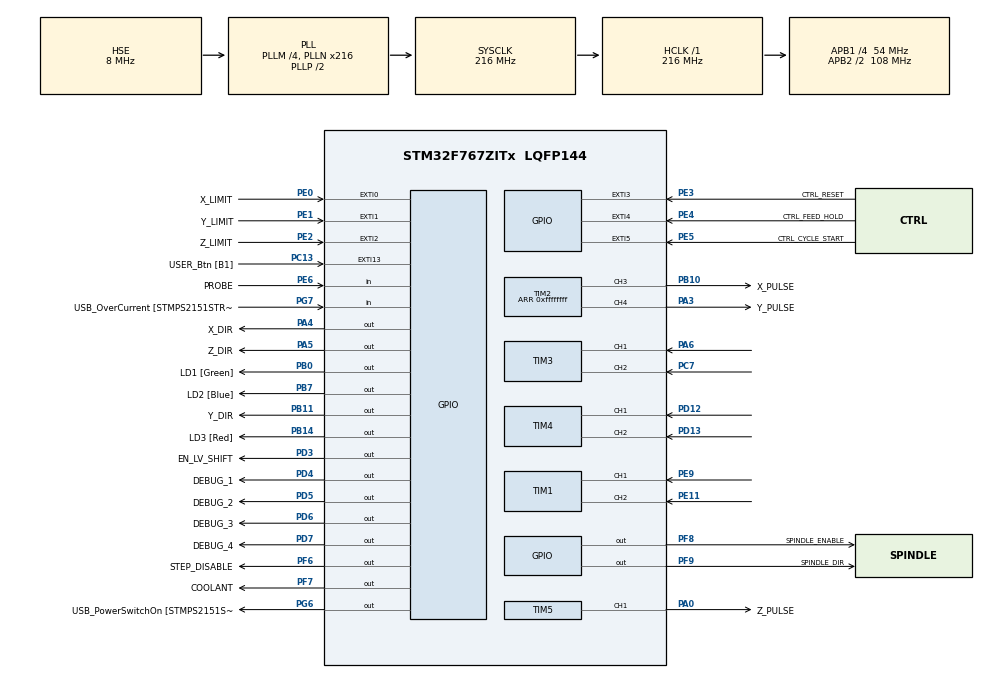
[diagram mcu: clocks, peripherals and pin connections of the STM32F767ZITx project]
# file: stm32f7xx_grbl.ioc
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Dma.Request0=TIM2_UP/CH3
Dma.Request1=TIM2_CH2/CH4
Dma.Request2=TIM5_CH1
Dma.TIM2_CH2/CH4.1.Direction=DMA_MEMORY_TO_PERIPH
Dma.TIM2_CH2/CH4.1.FIFOMode=DMA_FIFOMODE_DISABLE
Dma.TIM2_CH2/CH4.1.Instance=DMA1_Stream6
Dma.TIM2_CH2/CH4.1.MemDataAlignment=DMA_MDATAALIGN_WORD
Dma.TIM2_CH2/CH4.1.MemInc=DMA_MINC_ENABLE
Dma.TIM2_CH2/CH4.1.Mode=DMA_NORMAL
Dma.TIM2_CH2/CH4.1.PeriphDataAlignment=DMA_PDATAALIGN_WORD
Dma.TIM2_CH2/CH4.1.PeriphInc=DMA_PINC_DISABLE
Dma.TIM2_CH2/CH4.1.Priority=DMA_PRIORITY_HIGH
Dma.TIM2_UP/CH3.0.Direction=DMA_MEMORY_TO_PERIPH
Dma.TIM2_UP/CH3.0.FIFOMode=DMA_FIFOMODE_DISABLE
Dma.TIM2_UP/CH3.0.Instance=DMA1_Stream1
Dma.TIM2_UP/CH3.0.MemDataAlignment=DMA_MDATAALIGN_WORD
Dma.TIM2_UP/CH3.0.MemInc=DMA_MINC_ENABLE
Dma.TIM2_UP/CH3.0.Mode=DMA_NORMAL
Dma.TIM2_UP/CH3.0.PeriphDataAlignment=DMA_PDATAALIGN_WORD
Dma.TIM2_UP/CH3.0.PeriphInc=DMA_PINC_DISABLE
Dma.TIM2_UP/CH3.0.Priority=DMA_PRIORITY_HIGH
Dma.TIM5_CH1.2.Direction=DMA_MEMORY_TO_PERIPH
Dma.TIM5_CH1.2.FIFOMode=DMA_FIFOMODE_DISABLE
Dma.TIM5_CH1.2.Instance=DMA1_Stream2
Dma.TIM5_CH1.2.MemDataAlignment=DMA_MDATAALIGN_WORD
Dma.TIM5_CH1.2.MemInc=DMA_MINC_ENABLE
Dma.TIM5_CH1.2.Mode=DMA_NORMAL
Dma.TIM5_CH1.2.PeriphDataAlignment=DMA_PDATAALIGN_WORD
Dma.TIM5_CH1.2.PeriphInc=DMA_PINC_DISABLE
Dma.TIM5_CH1.2.Priority=DMA_PRIORITY_HIGH
Mcu.Family=STM32F7
Mcu.Name=STM32F767ZITx
Mcu.Package=LQFP144
NVIC.DMA1_Stream1_IRQn=true\:0\:0\:false\:false\:true\:false\:true\:true
NVIC.DMA1_Stream2_IRQn=true\:0\:0\:false\:false\:true\:false\:true\:true
NVIC.DMA1_Stream6_IRQn=true\:0\:0\:false\:false\:true\:false\:true\:true
NVIC.EXTI0_IRQn=true\:0\:0\:false\:false\:true\:true\:true\:true
NVIC.EXTI1_IRQn=true\:0\:0\:false\:false\:true\:true\:true\:true
NVIC.EXTI2_IRQn=true\:0\:0\:false\:false\:true\:true\:true\:true
NVIC.EXTI3_IRQn=true\:0\:0\:false\:false\:true\:true\:true\:true
NVIC.EXTI4_IRQn=true\:0\:0\:false\:false\:true\:true\:true\:true
NVIC.EXTI9_5_IRQn=true\:0\:0\:false\:false\:true\:true\:true\:true
NVIC.PriorityGroup=NVIC_PRIORITYGROUP_4
NVIC.TIM6_DAC_IRQn=true\:15\:0\:false\:false\:true\:false\:true\:true
NVIC.TIM7_IRQn=true\:14\:0\:true\:false\:true\:true\:true\:true
NVIC.TimeBase=TIM6_DAC_IRQn
NVIC.TimeBaseIP=TIM6
PA0/WKUP.GPIO_Label=Z_PULSE
PA0/WKUP.GPIO_ModeDefaultPP=GPIO_MODE_AF_OD
PA0/WKUP.Signal=S_TIM5_CH1
PA1.GPIO_Label=RMII_REF_CLK [LAN8742A-CZ-TR_REFCLK0]
PA1.Signal=ETH_REF_CLK
PA10.GPIO_Label=USB_ID
PA10.Signal=USB_OTG_FS_ID
PA11.GPIO_Label=USB_DM
PA11.Signal=USB_OTG_FS_DM
PA12.GPIO_Label=USB_DP
PA12.Signal=USB_OTG_FS_DP
PA13.GPIO_Label=TMS
PA13.Mode=Serial_Wire
PA13.Signal=SYS_JTMS-SWDIO
PA14.GPIO_Label=TCK
PA14.Mode=Serial_Wire
PA14.Signal=SYS_JTCK-SWCLK
PA2.GPIO_Label=RMII_MDIO [LAN8742A-CZ-TR_MDIO]
PA2.Signal=ETH_MDIO
PA3.GPIO_Label=Y_PULSE
PA3.GPIO_ModeDefaultPP=GPIO_MODE_AF_OD
PA3.Signal=S_TIM2_CH4
PA4.GPIO_Label=X_DIR
PA4.GPIO_ModeDefaultOutputPP=GPIO_MODE_OUTPUT_OD
PA4.GPIO_PuPd=GPIO_NOPULL
PA4.Signal=GPIO_Output
PA5.GPIO_Label=Z_DIR
PA5.GPIO_ModeDefaultOutputPP=GPIO_MODE_OUTPUT_OD
PA5.GPIO_PuPd=GPIO_NOPULL
PA5.Signal=GPIO_Output
PA6.Signal=S_TIM3_CH1
PA7.GPIO_Label=RMII_CRS_DV [LAN8742A-CZ-TR_CRS_DV]
PA7.Signal=ETH_CRS_DV
PA8.GPIO_Label=USB_SOF [TP1]
PA8.Signal=USB_OTG_FS_SOF
PA9.GPIO_Label=USB_VBUS
PA9.Signal=USB_OTG_FS_VBUS
PB0.GPIO_Label=LD1 [Green]
PB0.Signal=GPIO_Output
PB10.GPIO_Label=X_PULSE
PB10.GPIO_ModeDefaultPP=GPIO_MODE_AF_OD
PB10.Signal=S_TIM2_CH3
PB11.GPIO_Label=Y_DIR
PB11.GPIO_ModeDefaultOutputPP=GPIO_MODE_OUTPUT_OD
PB11.GPIO_PuPd=GPIO_NOPULL
PB11.Signal=GPIO_Output
PB13.GPIO_Label=RMII_TXD1 [LAN8742A-CZ-TR_TXD1]
PB13.Signal=ETH_TXD1
PB14.GPIO_Label=LD3 [Red]
PB14.Signal=GPIO_Output
PB3.GPIO_Label=SW0
PB3.Signal=SYS_JTDO-SWO
PB7.GPIO_Label=LD2 [Blue]
PB7.Signal=GPIO_Output
PC1.GPIO_Label=RMII_MDC [LAN8742A-CZ-TR_MDC]
PC1.Signal=ETH_MDC
PC13.GPIO_Label=USER_Btn [B1]
PC13.Signal=GPXTI13
PC14/OSC32_IN.Mode=LSE-External-Oscillator
PC14/OSC32_IN.Signal=RCC_OSC32_IN
PC15/OSC32_OUT.Mode=LSE-External-Oscillator
PC15/OSC32_OUT.Signal=RCC_OSC32_OUT
PC4.GPIO_Label=RMII_RXD0 [LAN8742A-CZ-TR_RXD0]
PC4.Signal=ETH_RXD0
PC5.GPIO_Label=RMII_RXD1 [LAN8742A-CZ-TR_RXD1]
PC5.Signal=ETH_RXD1
PC7.Signal=S_TIM3_CH2
PD12.Signal=S_TIM4_CH1
PD13.Signal=S_TIM4_CH2
PD3.GPIO_Label=EN_LV_SHIFT
PD3.GPIO_ModeDefaultOutputPP=GPIO_MODE_OUTPUT_OD
PD3.GPIO_PuPd=GPIO_NOPULL
PD3.Signal=GPIO_Output
PD4.GPIO_Label=DEBUG_1
PD4.Signal=GPIO_Output
PD5.GPIO_Label=DEBUG_2
PD5.Signal=GPIO_Output
PD6.GPIO_Label=DEBUG_3
PD6.Signal=GPIO_Output
PD7.GPIO_Label=DEBUG_4
PD7.Signal=GPIO_Output
PD8.GPIO_Label=STLK_RX [STM32F103CBT6_PA3]
PD8.Signal=USART3_TX
PD9.GPIO_Label=STLK_TX [STM32F103CBT6_PA2]
PD9.Signal=USART3_RX
PE0.GPIO_Label=X_LIMIT
PE0.GPIO_ModeDefaultEXTI=GPIO_MODE_IT_RISING_FALLING
PE0.GPIO_PuPd=GPIO_PULLUP
PE0.Signal=GPXTI0
PE1.GPIO_Label=Y_LIMIT
PE1.GPIO_ModeDefaultEXTI=GPIO_MODE_IT_RISING_FALLING
PE1.GPIO_PuPd=GPIO_PULLUP
PE1.Signal=GPXTI1
PE11.Signal=S_TIM1_CH2
PE2.GPIO_Label=Z_LIMIT
PE2.GPIO_ModeDefaultEXTI=GPIO_MODE_IT_RISING_FALLING
PE2.GPIO_PuPd=GPIO_PULLUP
PE2.Signal=GPXTI2
PE3.GPIO_Label=CTRL_RESET
PE3.GPIO_ModeDefaultEXTI=GPIO_MODE_IT_FALLING
PE3.GPIO_PuPd=GPIO_PULLUP
PE3.Signal=GPXTI3
PE4.GPIO_Label=CTRL_FEED_HOLD
PE4.GPIO_ModeDefaultEXTI=GPIO_MODE_IT_FALLING
PE4.GPIO_PuPd=GPIO_PULLUP
PE4.Signal=GPXTI4
PE5.GPIO_Label=CTRL_CYCLE_START
PE5.GPIO_ModeDefaultEXTI=GPIO_MODE_IT_FALLING
PE5.GPIO_PuPd=GPIO_PULLUP
PE5.Signal=GPXTI5
PE6.GPIO_Label=PROBE
PE6.GPIO_PuPd=GPIO_PULLUP
PE6.Signal=GPIO_Input
PE9.Signal=S_TIM1_CH1
PF6.GPIO_Label=STEP_DISABLE
PF6.Signal=GPIO_Output
PF7.GPIO_Label=COOLANT
PF7.Signal=GPIO_Output
PF8.GPIO_Label=SPINDLE_ENABLE
PF8.Signal=GPIO_Output
PF9.GPIO_Label=SPINDLE_DIR
PF9.Signal=GPIO_Output
PG11.GPIO_Label=RMII_TX_EN [LAN8742A-CZ-TR_TXEN]
PG11.Signal=ETH_TX_EN
PG13.GPIO_Label=RMII_TXD0 [LAN8742A-CZ-TR_TXD0]
PG13.Signal=ETH_TXD0
PG6.GPIO_Label=USB_PowerSwitchOn [STMPS2151STR_EN]
PG6.Signal=GPIO_Output
PG7.GPIO_Label=USB_OverCurrent [STMPS2151STR_FAULT]
PG7.Signal=GPIO_Input
PH0/OSC_IN.GPIO_Label=MCO [STM32F103CBT6_PA8]
PH0/OSC_IN.Mode=HSE-External-Clock-Source
PH0/OSC_IN.Signal=RCC_OSC_IN
PH1/OSC_OUT.Mode=HSE-External-Clock-Source
PH1/OSC_OUT.Signal=RCC_OSC_OUT
ProjectManager.HeapSize=0x200
ProjectManager.StackSize=0x400
ProjectManager.TargetToolchain=STM32CubeIDE
RCC.48MHZClocksFreq_Value=24000000
RCC.AHBFreq_Value=216000000
RCC.APB1CLKDivider=RCC_HCLK_DIV4
RCC.APB1Freq_Value=54000000
RCC.APB1TimFreq_Value=108000000
RCC.APB2CLKDivider=RCC_HCLK_DIV2
RCC.APB2Freq_Value=108000000
RCC.APB2TimFreq_Value=216000000
RCC.CortexFreq_Value=216000000
RCC.HCLKFreq_Value=216000000
RCC.HSE_VALUE=8000000
RCC.HSI_VALUE=16000000
RCC.PLLM=4
RCC.PLLMUL=RCC_PLL_MUL9
RCC.PLLN=216
RCC.PLLSourceVirtual=RCC_PLLSOURCE_HSE
RCC.PRESCALERUSB=RCC_USBCLKSOURCE_PLL_DIV1_5
RCC.SYSCLKFreq_VALUE=216000000
RCC.SYSCLKSource=RCC_SYSCLKSOURCE_PLLCLK
RCC.SYSCLKSourceVirtual=RCC_SYSCLKSOURCE_PLLCLK
RCC.USBFreq_Value=216000000
RCC.VCOOutputFreq_Value=432000000
SH.S_TIM1_CH1.0=TIM1_CH1,Encoder_Interface
SH.S_TIM1_CH2.0=TIM1_CH2,Encoder_Interface
SH.S_TIM2_CH3.0=TIM2_CH3,Output Compare3 CH3
SH.S_TIM2_CH4.0=TIM2_CH4,Output Compare4 CH4
SH.S_TIM3_CH1.0=TIM3_CH1,Encoder_Interface
SH.S_TIM3_CH2.0=TIM3_CH2,Encoder_Interface
SH.S_TIM4_CH1.0=TIM4_CH1,Encoder_Interface
SH.S_TIM4_CH2.0=TIM4_CH2,Encoder_Interface
SH.S_TIM5_CH1.0=TIM5_CH1,Output Compare1 CH1
TIM1.EncoderMode=TIM_ENCODERMODE_TI12
TIM14.Prescaler=108
TIM2.Channel-Output\ Compare3\ CH3=TIM_CHANNEL_3
TIM2.Channel-Output\ Compare4\ CH4=TIM_CHANNEL_4
TIM2.OCMode_3=TIM_OCMODE_TOGGLE
TIM2.OCMode_4=TIM_OCMODE_TOGGLE
TIM2.OCPolarity_3=TIM_OCPOLARITY_HIGH
TIM2.OCPolarity_4=TIM_OCPOLARITY_HIGH
TIM2.Period=0xffffffff
TIM2.TIM_MasterOutputTrigger=TIM_TRGO_ENABLE
TIM2.TIM_MasterSlaveMode=TIM_MASTERSLAVEMODE_ENABLE
TIM3.EncoderMode=TIM_ENCODERMODE_TI12
TIM4.EncoderMode=TIM_ENCODERMODE_TI12
TIM5.Channel-Output\ Compare1\ CH1=TIM_CHANNEL_1
TIM5.OCMode_1=TIM_OCMODE_TOGGLE
TIM5.OCPolarity_1=TIM_OCPOLARITY_HIGH
TIM7.Period=3276
TIM7.Prescaler=10799
VP_SYS_VS_tim6.Mode=TIM6
VP_TIM14_VS_ClockSourceINT.Mode=Enable_Timer
VP_TIM2_VS_ClockSourceINT.Mode=Internal
VP_TIM5_VS_ClockSourceINT.Mode=Internal
VP_TIM5_VS_ClockSourceITR.Mode=TriggerSource_ITR0
VP_TIM5_VS_ControllerModeGated.Mode=Gated Mode
VP_TIM7_VS_ClockSourceINT.Mode=Enable_Timer
board=NUCLEO-F767ZI

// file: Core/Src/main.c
/* USER CODE BEGIN Header */
/**
 ******************************************************************************
 * @file           : main.c
 * @brief          : Main program body
 ******************************************************************************
 * @attention
 *
 * Copyright (c) 2024 STMicroelectronics.
 * All rights reserved.
 *
 * This software is licensed under terms that can be found in the LICENSE file
 * in the root directory of this software component.
 * If no LICENSE file comes with this software, it is provided AS-IS.
 *
 ******************************************************************************
 */
/* USER CODE END Header */
#include "main.h"

/* USER CODE BEGIN Includes */
#include <stdarg.h>
#include <stdio.h>
#include "stm32f7xx_grbl.h"
#include "ethernet_if.h"
#include "encoder.h"
#include "grbl.h"

/* USER CODE END Includes */

TIM_HandleTypeDef htim1;
TIM_HandleTypeDef htim2;
TIM_HandleTypeDef htim3;
TIM_HandleTypeDef htim4;
TIM_HandleTypeDef htim5;
TIM_HandleTypeDef htim7;
TIM_HandleTypeDef htim14;
DMA_HandleTypeDef hdma_tim2_up_ch3;
DMA_HandleTypeDef hdma_tim2_ch2_ch4;
DMA_HandleTypeDef hdma_tim5_ch1;

void SystemClock_Config(void);
static void MX_GPIO_Init(void);
static void MX_DMA_Init(void);
static void MX_TIM3_Init(void);
static void MX_TIM4_Init(void);
static void MX_TIM2_Init(void);
static void MX_TIM1_Init(void);
static void MX_TIM5_Init(void);
static void MX_TIM7_Init(void);
static void MX_TIM14_Init(void);

int main(void)
{

  /* MCU Configuration--------------------------------------------------------*/

  /* Reset of all peripherals, Initializes the Flash interface and the Systick. */
  HAL_Init();

  /* Configure the system clock */
  SystemClock_Config();

  /* Initialize all configured peripherals */
  MX_GPIO_Init();
  MX_DMA_Init();
  MX_TIM3_Init();
  MX_TIM4_Init();
  MX_TIM2_Init();
  MX_TIM1_Init();
  MX_TIM5_Init();
  MX_TIM7_Init();
  MX_TIM14_Init();
  /* USER CODE BEGIN 2 */
  // start Timer 7
  HAL_TIM_Base_Start_IT(&htim7);

  // start Timer 1 in encoder mode
  HAL_TIM_Encoder_Start(&htim1, TIM_CHANNEL_ALL);

  // start microsecond timer
  utilsStartUsTimer(&htim14);

  // init TCP
  tcp_server_init();

#ifdef ENCODER_ENABLE
  // init encoder
  encoderInit();
#endif

  // create grbl task
  xTaskCreate(mainGRBL, "grblTask", configMINIMAL_STACK_SIZE * 4, NULL, tskIDLE_PRIORITY, NULL);

  // start scheduler
  vTaskStartScheduler();

  /* It should never get here as the scheduler is started. */

  /* USER CODE END 2 */

  /* Infinite loop */
  while (1)
  {

  }
}

void SystemClock_Config(void)
{
  RCC_OscInitTypeDef RCC_OscInitStruct = {0};
  RCC_ClkInitTypeDef RCC_ClkInitStruct = {0};

  /** Configure LSE Drive Capability
  */
  HAL_PWR_EnableBkUpAccess();

  /** Configure the main internal regulator output voltage
  */
  __HAL_RCC_PWR_CLK_ENABLE();
  __HAL_PWR_VOLTAGESCALING_CONFIG(PWR_REGULATOR_VOLTAGE_SCALE1);

  /** Initializes the RCC Oscillators according to the specified parameters
  * in the RCC_OscInitTypeDef structure.
  */
  RCC_OscInitStruct.OscillatorType = RCC_OSCILLATORTYPE_HSE;
  RCC_OscInitStruct.HSEState = RCC_HSE_BYPASS;
  RCC_OscInitStruct.PLL.PLLState = RCC_PLL_ON;
  RCC_OscInitStruct.PLL.PLLSource = RCC_PLLSOURCE_HSE;
  RCC_OscInitStruct.PLL.PLLM = 4;
  RCC_OscInitStruct.PLL.PLLN = 216;
  RCC_OscInitStruct.PLL.PLLP = RCC_PLLP_DIV2;
  RCC_OscInitStruct.PLL.PLLQ = 2;
  RCC_OscInitStruct.PLL.PLLR = 2;
  if (HAL_RCC_OscConfig(&RCC_OscInitStruct) != HAL_OK)
  {
    Error_Handler();
  }

  /** Activate the Over-Drive mode
  */
  if (HAL_PWREx_EnableOverDrive() != HAL_OK)
  {
    Error_Handler();
  }

  /** Initializes the CPU, AHB and APB buses clocks
  */
  RCC_ClkInitStruct.ClockType = RCC_CLOCKTYPE_HCLK|RCC_CLOCKTYPE_SYSCLK
                              |RCC_CLOCKTYPE_PCLK1|RCC_CLOCKTYPE_PCLK2;
  RCC_ClkInitStruct.SYSCLKSource = RCC_SYSCLKSOURCE_PLLCLK;
  RCC_ClkInitStruct.AHBCLKDivider = RCC_SYSCLK_DIV1;
  RCC_ClkInitStruct.APB1CLKDivider = RCC_HCLK_DIV4;
  RCC_ClkInitStruct.APB2CLKDivider = RCC_HCLK_DIV2;

  if (HAL_RCC_ClockConfig(&RCC_ClkInitStruct, FLASH_LATENCY_7) != HAL_OK)
  {
    Error_Handler();
  }
}

static void MX_TIM1_Init(void)
{

  TIM_Encoder_InitTypeDef sConfig = {0};
  TIM_MasterConfigTypeDef sMasterConfig = {0};

  htim1.Instance = TIM1;
  htim1.Init.Prescaler = 0;
  htim1.Init.CounterMode = TIM_COUNTERMODE_UP;
  htim1.Init.Period = 65535;
  htim1.Init.ClockDivision = TIM_CLOCKDIVISION_DIV1;
  htim1.Init.RepetitionCounter = 0;
  htim1.Init.AutoReloadPreload = TIM_AUTORELOAD_PRELOAD_DISABLE;
  sConfig.EncoderMode = TIM_ENCODERMODE_TI12;
  sConfig.IC1Polarity = TIM_ICPOLARITY_RISING;
  sConfig.IC1Selection = TIM_ICSELECTION_DIRECTTI;
  sConfig.IC1Prescaler = TIM_ICPSC_DIV1;
  sConfig.IC1Filter = 0;
  sConfig.IC2Polarity = TIM_ICPOLARITY_RISING;
  sConfig.IC2Selection = TIM_ICSELECTION_DIRECTTI;
  sConfig.IC2Prescaler = TIM_ICPSC_DIV1;
  sConfig.IC2Filter = 0;
  if (HAL_TIM_Encoder_Init(&htim1, &sConfig) != HAL_OK)
  {
    Error_Handler();
  }
  sMasterConfig.MasterOutputTrigger = TIM_TRGO_RESET;
  sMasterConfig.MasterOutputTrigger2 = TIM_TRGO2_RESET;
  sMasterConfig.MasterSlaveMode = TIM_MASTERSLAVEMODE_DISABLE;
  if (HAL_TIMEx_MasterConfigSynchronization(&htim1, &sMasterConfig) != HAL_OK)
  {
    Error_Handler();
  }

}

static void MX_TIM2_Init(void)
{

  TIM_ClockConfigTypeDef sClockSourceConfig = {0};
  TIM_MasterConfigTypeDef sMasterConfig = {0};
  TIM_OC_InitTypeDef sConfigOC = {0};

  htim2.Instance = TIM2;
  htim2.Init.Prescaler = 0;
  htim2.Init.CounterMode = TIM_COUNTERMODE_UP;
  htim2.Init.Period = 0xffffffff;
  htim2.Init.ClockDivision = TIM_CLOCKDIVISION_DIV1;
  htim2.Init.AutoReloadPreload = TIM_AUTORELOAD_PRELOAD_DISABLE;
  if (HAL_TIM_Base_Init(&htim2) != HAL_OK)
  {
    Error_Handler();
  }
  sClockSourceConfig.ClockSource = TIM_CLOCKSOURCE_INTERNAL;
  if (HAL_TIM_ConfigClockSource(&htim2, &sClockSourceConfig) != HAL_OK)
  {
    Error_Handler();
  }
  if (HAL_TIM_OC_Init(&htim2) != HAL_OK)
  {
    Error_Handler();
  }
  sMasterConfig.MasterOutputTrigger = TIM_TRGO_ENABLE;
  sMasterConfig.MasterSlaveMode = TIM_MASTERSLAVEMODE_ENABLE;
  if (HAL_TIMEx_MasterConfigSynchronization(&htim2, &sMasterConfig) != HAL_OK)
  {
    Error_Handler();
  }
  sConfigOC.OCMode = TIM_OCMODE_TOGGLE;
  sConfigOC.Pulse = 0;
  sConfigOC.OCPolarity = TIM_OCPOLARITY_HIGH;
  sConfigOC.OCFastMode = TIM_OCFAST_DISABLE;
  if (HAL_TIM_OC_ConfigChannel(&htim2, &sConfigOC, TIM_CHANNEL_3) != HAL_OK)
  {
    Error_Handler();
  }
  if (HAL_TIM_OC_ConfigChannel(&htim2, &sConfigOC, TIM_CHANNEL_4) != HAL_OK)
  {
    Error_Handler();
  }
  HAL_TIM_MspPostInit(&htim2);

}

static void MX_TIM3_Init(void)
{

  TIM_Encoder_InitTypeDef sConfig = {0};
  TIM_MasterConfigTypeDef sMasterConfig = {0};

  htim3.Instance = TIM3;
  htim3.Init.Prescaler = 0;
  htim3.Init.CounterMode = TIM_COUNTERMODE_UP;
  htim3.Init.Period = 65535;
  htim3.Init.ClockDivision = TIM_CLOCKDIVISION_DIV1;
  htim3.Init.AutoReloadPreload = TIM_AUTORELOAD_PRELOAD_DISABLE;
  sConfig.EncoderMode = TIM_ENCODERMODE_TI12;
  sConfig.IC1Polarity = TIM_ICPOLARITY_RISING;
  sConfig.IC1Selection = TIM_ICSELECTION_DIRECTTI;
  sConfig.IC1Prescaler = TIM_ICPSC_DIV1;
  sConfig.IC1Filter = 0;
  sConfig.IC2Polarity = TIM_ICPOLARITY_RISING;
  sConfig.IC2Selection = TIM_ICSELECTION_DIRECTTI;
  sConfig.IC2Prescaler = TIM_ICPSC_DIV1;
  sConfig.IC2Filter = 0;
  if (HAL_TIM_Encoder_Init(&htim3, &sConfig) != HAL_OK)
  {
    Error_Handler();
  }
  sMasterConfig.MasterOutputTrigger = TIM_TRGO_RESET;
  sMasterConfig.MasterSlaveMode = TIM_MASTERSLAVEMODE_DISABLE;
  if (HAL_TIMEx_MasterConfigSynchronization(&htim3, &sMasterConfig) != HAL_OK)
  {
    Error_Handler();
  }

}

static void MX_TIM4_Init(void)
{

  TIM_Encoder_InitTypeDef sConfig = {0};
  TIM_MasterConfigTypeDef sMasterConfig = {0};

  htim4.Instance = TIM4;
  htim4.Init.Prescaler = 0;
  htim4.Init.CounterMode = TIM_COUNTERMODE_UP;
  htim4.Init.Period = 65535;
  htim4.Init.ClockDivision = TIM_CLOCKDIVISION_DIV1;
  htim4.Init.AutoReloadPreload = TIM_AUTORELOAD_PRELOAD_DISABLE;
  sConfig.EncoderMode = TIM_ENCODERMODE_TI12;
  sConfig.IC1Polarity = TIM_ICPOLARITY_RISING;
  sConfig.IC1Selection = TIM_ICSELECTION_DIRECTTI;
  sConfig.IC1Prescaler = TIM_ICPSC_DIV1;
  sConfig.IC1Filter = 0;
  sConfig.IC2Polarity = TIM_ICPOLARITY_RISING;
  sConfig.IC2Selection = TIM_ICSELECTION_DIRECTTI;
  sConfig.IC2Prescaler = TIM_ICPSC_DIV1;
  sConfig.IC2Filter = 0;
  if (HAL_TIM_Encoder_Init(&htim4, &sConfig) != HAL_OK)
  {
    Error_Handler();
  }
  sMasterConfig.MasterOutputTrigger = TIM_TRGO_RESET;
  sMasterConfig.MasterSlaveMode = TIM_MASTERSLAVEMODE_DISABLE;
  if (HAL_TIMEx_MasterConfigSynchronization(&htim4, &sMasterConfig) != HAL_OK)
  {
    Error_Handler();
  }

}

static void MX_TIM5_Init(void)
{

  TIM_ClockConfigTypeDef sClockSourceConfig = {0};
  TIM_SlaveConfigTypeDef sSlaveConfig = {0};
  TIM_MasterConfigTypeDef sMasterConfig = {0};
  TIM_OC_InitTypeDef sConfigOC = {0};

  htim5.Instance = TIM5;
  htim5.Init.Prescaler = 0;
  htim5.Init.CounterMode = TIM_COUNTERMODE_UP;
  htim5.Init.Period = 4294967295;
  htim5.Init.ClockDivision = TIM_CLOCKDIVISION_DIV1;
  htim5.Init.AutoReloadPreload = TIM_AUTORELOAD_PRELOAD_DISABLE;
  if (HAL_TIM_Base_Init(&htim5) != HAL_OK)
  {
    Error_Handler();
  }
  sClockSourceConfig.ClockSource = TIM_CLOCKSOURCE_INTERNAL;
  if (HAL_TIM_ConfigClockSource(&htim5, &sClockSourceConfig) != HAL_OK)
  {
    Error_Handler();
  }
  if (HAL_TIM_OC_Init(&htim5) != HAL_OK)
  {
    Error_Handler();
  }
  sSlaveConfig.SlaveMode = TIM_SLAVEMODE_GATED;
  sSlaveConfig.InputTrigger = TIM_TS_ITR0;
  if (HAL_TIM_SlaveConfigSynchro(&htim5, &sSlaveConfig) != HAL_OK)
  {
    Error_Handler();
  }
  sMasterConfig.MasterOutputTrigger = TIM_TRGO_RESET;
  sMasterConfig.MasterSlaveMode = TIM_MASTERSLAVEMODE_DISABLE;
  if (HAL_TIMEx_MasterConfigSynchronization(&htim5, &sMasterConfig) != HAL_OK)
  {
    Error_Handler();
  }
  sConfigOC.OCMode = TIM_OCMODE_TOGGLE;
  sConfigOC.Pulse = 0;
  sConfigOC.OCPolarity = TIM_OCPOLARITY_HIGH;
  sConfigOC.OCFastMode = TIM_OCFAST_DISABLE;
  if (HAL_TIM_OC_ConfigChannel(&htim5, &sConfigOC, TIM_CHANNEL_1) != HAL_OK)
  {
    Error_Handler();
  }
  HAL_TIM_MspPostInit(&htim5);

}

static void MX_TIM7_Init(void)
{

  TIM_MasterConfigTypeDef sMasterConfig = {0};

  htim7.Instance = TIM7;
  htim7.Init.Prescaler = 10799;
  htim7.Init.CounterMode = TIM_COUNTERMODE_UP;
  htim7.Init.Period = 3276;
  htim7.Init.AutoReloadPreload = TIM_AUTORELOAD_PRELOAD_DISABLE;
  if (HAL_TIM_Base_Init(&htim7) != HAL_OK)
  {
    Error_Handler();
  }
  sMasterConfig.MasterOutputTrigger = TIM_TRGO_RESET;
  sMasterConfig.MasterSlaveMode = TIM_MASTERSLAVEMODE_DISABLE;
  if (HAL_TIMEx_MasterConfigSynchronization(&htim7, &sMasterConfig) != HAL_OK)
  {
    Error_Handler();
  }

}

static void MX_TIM14_Init(void)
{

  htim14.Instance = TIM14;
  htim14.Init.Prescaler = 108;
  htim14.Init.CounterMode = TIM_COUNTERMODE_UP;
  htim14.Init.Period = 65535;
  htim14.Init.ClockDivision = TIM_CLOCKDIVISION_DIV1;
  htim14.Init.AutoReloadPreload = TIM_AUTORELOAD_PRELOAD_DISABLE;
  if (HAL_TIM_Base_Init(&htim14) != HAL_OK)
  {
    Error_Handler();
  }

}

static void MX_DMA_Init(void)
{

  /* DMA controller clock enable */
  __HAL_RCC_DMA1_CLK_ENABLE();

  /* DMA interrupt init */
  /* DMA1_Stream1_IRQn interrupt configuration */
  HAL_NVIC_SetPriority(DMA1_Stream1_IRQn, 0, 0);
  HAL_NVIC_EnableIRQ(DMA1_Stream1_IRQn);
  /* DMA1_Stream2_IRQn interrupt configuration */
  HAL_NVIC_SetPriority(DMA1_Stream2_IRQn, 0, 0);
  HAL_NVIC_EnableIRQ(DMA1_Stream2_IRQn);
  /* DMA1_Stream6_IRQn interrupt configuration */
  HAL_NVIC_SetPriority(DMA1_Stream6_IRQn, 0, 0);
  HAL_NVIC_EnableIRQ(DMA1_Stream6_IRQn);

}

static void MX_GPIO_Init(void)
{
  GPIO_InitTypeDef GPIO_InitStruct = {0};

  /* GPIO Ports Clock Enable */
  __HAL_RCC_GPIOE_CLK_ENABLE();
  __HAL_RCC_GPIOC_CLK_ENABLE();
  __HAL_RCC_GPIOF_CLK_ENABLE();
  __HAL_RCC_GPIOH_CLK_ENABLE();
  __HAL_RCC_GPIOA_CLK_ENABLE();
  __HAL_RCC_GPIOB_CLK_ENABLE();
  __HAL_RCC_GPIOD_CLK_ENABLE();
  __HAL_RCC_GPIOG_CLK_ENABLE();

  /*Configure GPIO pin Output Level */
  HAL_GPIO_WritePin(GPIOF, STEP_DISABLE_Pin|COOLANT_Pin|SPINDLE_ENABLE_Pin|SPINDLE_DIR_Pin, GPIO_PIN_RESET);

  /*Configure GPIO pin Output Level */
  HAL_GPIO_WritePin(GPIOA, X_DIR_Pin|Z_DIR_Pin, GPIO_PIN_RESET);

  /*Configure GPIO pin Output Level */
  HAL_GPIO_WritePin(GPIOB, LD1_Pin|Y_DIR_Pin|LD3_Pin|LD2_Pin, GPIO_PIN_RESET);

  /*Configure GPIO pin Output Level */
  HAL_GPIO_WritePin(USB_PowerSwitchOn_GPIO_Port, USB_PowerSwitchOn_Pin, GPIO_PIN_RESET);

  /*Configure GPIO pin Output Level */
  HAL_GPIO_WritePin(GPIOD, EN_LV_SHIFT_Pin|DEBUG_1_Pin|DEBUG_2_Pin|DEBUG_3_Pin
                          |DEBUG_4_Pin, GPIO_PIN_RESET);

  /*Configure GPIO pins : Z_LIMIT_Pin X_LIMIT_Pin Y_LIMIT_Pin */
  GPIO_InitStruct.Pin = Z_LIMIT_Pin|X_LIMIT_Pin|Y_LIMIT_Pin;
  GPIO_InitStruct.Mode = GPIO_MODE_IT_RISING_FALLING;
  GPIO_InitStruct.Pull = GPIO_PULLUP;
  HAL_GPIO_Init(GPIOE, &GPIO_InitStruct);

  /*Configure GPIO pins : CTRL_RESET_Pin CTRL_FEED_HOLD_Pin CTRL_CYCLE_START_Pin */
  GPIO_InitStruct.Pin = CTRL_RESET_Pin|CTRL_FEED_HOLD_Pin|CTRL_CYCLE_START_Pin;
  GPIO_InitStruct.Mode = GPIO_MODE_IT_FALLING;
  GPIO_InitStruct.Pull = GPIO_PULLUP;
  HAL_GPIO_Init(GPIOE, &GPIO_InitStruct);

  /*Configure GPIO pin : PROBE_Pin */
  GPIO_InitStruct.Pin = PROBE_Pin;
  GPIO_InitStruct.Mode = GPIO_MODE_INPUT;
  GPIO_InitStruct.Pull = GPIO_PULLUP;
  HAL_GPIO_Init(PROBE_GPIO_Port, &GPIO_InitStruct);

  /*Configure GPIO pin : USER_Btn_Pin */
  GPIO_InitStruct.Pin = USER_Btn_Pin;
  GPIO_InitStruct.Mode = GPIO_MODE_IT_RISING;
  GPIO_InitStruct.Pull = GPIO_NOPULL;
  HAL_GPIO_Init(USER_Btn_GPIO_Port, &GPIO_InitStruct);

  /*Configure GPIO pins : STEP_DISABLE_Pin COOLANT_Pin SPINDLE_ENABLE_Pin SPINDLE_DIR_Pin */
  GPIO_InitStruct.Pin = STEP_DISABLE_Pin|COOLANT_Pin|SPINDLE_ENABLE_Pin|SPINDLE_DIR_Pin;
  GPIO_InitStruct.Mode = GPIO_MODE_OUTPUT_PP;
  GPIO_InitStruct.Pull = GPIO_NOPULL;
  GPIO_InitStruct.Speed = GPIO_SPEED_FREQ_LOW;
  HAL_GPIO_Init(GPIOF, &GPIO_InitStruct);

  /*Configure GPIO pins : RMII_MDC_Pin RMII_RXD0_Pin RMII_RXD1_Pin */
  GPIO_InitStruct.Pin = RMII_MDC_Pin|RMII_RXD0_Pin|RMII_RXD1_Pin;
  GPIO_InitStruct.Mode = GPIO_MODE_AF_PP;
  GPIO_InitStruct.Pull = GPIO_NOPULL;
  GPIO_InitStruct.Speed = GPIO_SPEED_FREQ_VERY_HIGH;
  GPIO_InitStruct.Alternate = GPIO_AF11_ETH;
  HAL_GPIO_Init(GPIOC, &GPIO_InitStruct);

  /*Configure GPIO pins : RMII_REF_CLK_Pin RMII_MDIO_Pin RMII_CRS_DV_Pin */
  GPIO_InitStruct.Pin = RMII_REF_CLK_Pin|RMII_MDIO_Pin|RMII_CRS_DV_Pin;
  GPIO_InitStruct.Mode = GPIO_MODE_AF_PP;
  GPIO_InitStruct.Pull = GPIO_NOPULL;
  GPIO_InitStruct.Speed = GPIO_SPEED_FREQ_VERY_HIGH;
  GPIO_InitStruct.Alternate = GPIO_AF11_ETH;
  HAL_GPIO_Init(GPIOA, &GPIO_InitStruct);

  /*Configure GPIO pins : X_DIR_Pin Z_DIR_Pin */
  GPIO_InitStruct.Pin = X_DIR_Pin|Z_DIR_Pin;
  GPIO_InitStruct.Mode = GPIO_MODE_OUTPUT_OD;
  GPIO_InitStruct.Pull = GPIO_NOPULL;
  GPIO_InitStruct.Speed = GPIO_SPEED_FREQ_LOW;
  HAL_GPIO_Init(GPIOA, &GPIO_InitStruct);

  /*Configure GPIO pins : LD1_Pin LD3_Pin LD2_Pin */
  GPIO_InitStruct.Pin = LD1_Pin|LD3_Pin|LD2_Pin;
  GPIO_InitStruct.Mode = GPIO_MODE_OUTPUT_PP;
  GPIO_InitStruct.Pull = GPIO_NOPULL;
  GPIO_InitStruct.Speed = GPIO_SPEED_FREQ_LOW;
  HAL_GPIO_Init(GPIOB, &GPIO_InitStruct);

  /*Configure GPIO pin : Y_DIR_Pin */
  GPIO_InitStruct.Pin = Y_DIR_Pin;
  GPIO_InitStruct.Mode = GPIO_MODE_OUTPUT_OD;
  GPIO_InitStruct.Pull = GPIO_NOPULL;
  GPIO_InitStruct.Speed = GPIO_SPEED_FREQ_LOW;
  HAL_GPIO_Init(Y_DIR_GPIO_Port, &GPIO_InitStruct);

  /*Configure GPIO pin : RMII_TXD1_Pin */
  GPIO_InitStruct.Pin = RMII_TXD1_Pin;
  GPIO_InitStruct.Mode = GPIO_MODE_AF_PP;
  GPIO_InitStruct.Pull = GPIO_NOPULL;
  GPIO_InitStruct.Speed = GPIO_SPEED_FREQ_VERY_HIGH;
  GPIO_InitStruct.Alternate = GPIO_AF11_ETH;
  HAL_GPIO_Init(RMII_TXD1_GPIO_Port, &GPIO_InitStruct);

  /*Configure GPIO pins : STLK_RX_Pin STLK_TX_Pin */
  GPIO_InitStruct.Pin = STLK_RX_Pin|STLK_TX_Pin;
  GPIO_InitStruct.Mode = GPIO_MODE_AF_PP;
  GPIO_InitStruct.Pull = GPIO_NOPULL;
  GPIO_InitStruct.Speed = GPIO_SPEED_FREQ_VERY_HIGH;
  GPIO_InitStruct.Alternate = GPIO_AF7_USART3;
  HAL_GPIO_Init(GPIOD, &GPIO_InitStruct);

  /*Configure GPIO pin : USB_PowerSwitchOn_Pin */
  GPIO_InitStruct.Pin = USB_PowerSwitchOn_Pin;
  GPIO_InitStruct.Mode = GPIO_MODE_OUTPUT_PP;
  GPIO_InitStruct.Pull = GPIO_NOPULL;
  GPIO_InitStruct.Speed = GPIO_SPEED_FREQ_LOW;
  HAL_GPIO_Init(USB_PowerSwitchOn_GPIO_Port, &GPIO_InitStruct);

  /*Configure GPIO pin : USB_OverCurrent_Pin */
  GPIO_InitStruct.Pin = USB_OverCurrent_Pin;
  GPIO_InitStruct.Mode = GPIO_MODE_INPUT;
  GPIO_InitStruct.Pull = GPIO_NOPULL;
  HAL_GPIO_Init(USB_OverCurrent_GPIO_Port, &GPIO_InitStruct);

  /*Configure GPIO pins : USB_SOF_Pin USB_ID_Pin USB_DM_Pin USB_DP_Pin */
  GPIO_InitStruct.Pin = USB_SOF_Pin|USB_ID_Pin|USB_DM_Pin|USB_DP_Pin;
  GPIO_InitStruct.Mode = GPIO_MODE_AF_PP;
  GPIO_InitStruct.Pull = GPIO_NOPULL;
  GPIO_InitStruct.Speed = GPIO_SPEED_FREQ_VERY_HIGH;
  GPIO_InitStruct.Alternate = GPIO_AF10_OTG_FS;
  HAL_GPIO_Init(GPIOA, &GPIO_InitStruct);

  /*Configure GPIO pin : USB_VBUS_Pin */
  GPIO_InitStruct.Pin = USB_VBUS_Pin;
  GPIO_InitStruct.Mode = GPIO_MODE_INPUT;
  GPIO_InitStruct.Pull = GPIO_NOPULL;
  HAL_GPIO_Init(USB_VBUS_GPIO_Port, &GPIO_InitStruct);

  /*Configure GPIO pin : EN_LV_SHIFT_Pin */
  GPIO_InitStruct.Pin = EN_LV_SHIFT_Pin;
  GPIO_InitStruct.Mode = GPIO_MODE_OUTPUT_OD;
  GPIO_InitStruct.Pull = GPIO_NOPULL;
  GPIO_InitStruct.Speed = GPIO_SPEED_FREQ_LOW;
  HAL_GPIO_Init(EN_LV_SHIFT_GPIO_Port, &GPIO_InitStruct);

  /*Configure GPIO pins : DEBUG_1_Pin DEBUG_2_Pin DEBUG_3_Pin DEBUG_4_Pin */
  GPIO_InitStruct.Pin = DEBUG_1_Pin|DEBUG_2_Pin|DEBUG_3_Pin|DEBUG_4_Pin;
  GPIO_InitStruct.Mode = GPIO_MODE_OUTPUT_PP;
  GPIO_InitStruct.Pull = GPIO_NOPULL;
  GPIO_InitStruct.Speed = GPIO_SPEED_FREQ_LOW;
  HAL_GPIO_Init(GPIOD, &GPIO_InitStruct);

  /*Configure GPIO pins : RMII_TX_EN_Pin RMII_TXD0_Pin */
  GPIO_InitStruct.Pin = RMII_TX_EN_Pin|RMII_TXD0_Pin;
  GPIO_InitStruct.Mode = GPIO_MODE_AF_PP;
  GPIO_InitStruct.Pull = GPIO_NOPULL;
  GPIO_InitStruct.Speed = GPIO_SPEED_FREQ_VERY_HIGH;
  GPIO_InitStruct.Alternate = GPIO_AF11_ETH;
  HAL_GPIO_Init(GPIOG, &GPIO_InitStruct);

  /* EXTI interrupt init*/
  HAL_NVIC_SetPriority(EXTI0_IRQn, 0, 0);
  HAL_NVIC_EnableIRQ(EXTI0_IRQn);

  HAL_NVIC_SetPriority(EXTI1_IRQn, 0, 0);
  HAL_NVIC_EnableIRQ(EXTI1_IRQn);

  HAL_NVIC_SetPriority(EXTI2_IRQn, 0, 0);
  HAL_NVIC_EnableIRQ(EXTI2_IRQn);

  HAL_NVIC_SetPriority(EXTI3_IRQn, 0, 0);
  HAL_NVIC_EnableIRQ(EXTI3_IRQn);

  HAL_NVIC_SetPriority(EXTI4_IRQn, 0, 0);
  HAL_NVIC_EnableIRQ(EXTI4_IRQn);

  HAL_NVIC_SetPriority(EXTI9_5_IRQn, 0, 0);
  HAL_NVIC_EnableIRQ(EXTI9_5_IRQn);

}

/* USER CODE BEGIN 4 */

void vLoggingPrintf(const char *pcFormatString, ...)
{
  // SEGGER_SYSVIEW_PrintfTarget(pcFormatString);
  va_list arg;

  va_start(arg, pcFormatString);
  vprintf(pcFormatString, arg);
  va_end(arg);
}

void vApplicationMallocFailedHook(void)
{
  static volatile uint32_t ulMallocFailures = 0;

  /* Called if a call to pvPortMalloc() fails because there is insufficient
  free memory available in the FreeRTOS heap.  pvPortMalloc() is called
  internally by FreeRTOS API functions that create tasks, queues, software
  timers, and semaphores.  The size of the FreeRTOS heap is set by the
  configTOTAL_HEAP_SIZE configuration constant in FreeRTOSConfig.h. */
  ulMallocFailures++;

  vLoggingPrintf("Malloc failed %d times\n", ulMallocFailures);
}

void vApplicationStackOverflowHook(TaskHandle_t xTask, char *pcTaskName)
{
  (void)pcTaskName;
  (void)xTask;

  /* Run time stack overflow checking is performed if
  configCHECK_FOR_STACK_OVERFLOW is defined to 1 or 2.  This hook
  function is called if a stack overflow is detected. */
  taskDISABLE_INTERRUPTS();
  for (;;)
    ;
}

void HAL_GPIO_EXTI_Callback(uint16_t GPIO_Pin)
{
  if ((GPIO_Pin & LIMIT_MASK) != 0)
  {
    limits_isr(GPIO_Pin);
  }
  else if ((GPIO_Pin & CONTROL_MASK) != 0)
  {
    system_control_pin_isr(GPIO_Pin);
  }
  // else if ((GPIO_Pin & PROBE_MASK) != 0){}
}
/* USER CODE END 4 */

void HAL_TIM_PeriodElapsedCallback(TIM_HandleTypeDef *htim)
{
  if (htim->Instance == TIM6) {
    HAL_IncTick();
  }
  /* USER CODE BEGIN Callback 1 */
  else if (htim->Instance == TIM7)
  {
    encoderInterruptHandler();
  }

  /* USER CODE END Callback 1 */
}

void Error_Handler(void)
{
  __disable_irq();
  while (1)
  {
  }
}

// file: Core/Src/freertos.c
#include "FreeRTOS.h"

extern void vApplicationGetIdleTaskMemory(StaticTask_t **ppxIdleTaskTCBBuffer,
                                          StackType_t **ppxIdleTaskStackBuffer,
                                          uint32_t *puxIdleTaskStackSize);

extern void vApplicationGetTimerTaskMemory(StaticTask_t **ppxTimerTaskTCBBuffer,
                                           StackType_t **ppxTimerTaskStackBuffer,
                                           uint32_t *puxTimerTaskStackSize);

/* configSUPPORT_STATIC_ALLOCATION is set to 1, so the application must provide an
implementation of vApplicationGetIdleTaskMemory() to provide the memory that is
used by the Idle task. */
void vApplicationGetIdleTaskMemory(StaticTask_t **ppxIdleTaskTCBBuffer,
                                   StackType_t **ppxIdleTaskStackBuffer,
                                   uint32_t *puxIdleTaskStackSize)
{
    /* If the buffers to be provided to the Idle task are declared inside this
    function then they must be declared static - otherwise they will be allocated on
    the stack and so not exists after this function exits. */
    static StaticTask_t xIdleTaskTCB;
    static StackType_t uxIdleTaskStack[configMINIMAL_STACK_SIZE];

    /* Pass out a pointer to the StaticTask_t structure in which the Idle task's
    state will be stored. */
    *ppxIdleTaskTCBBuffer = &xIdleTaskTCB;

    /* Pass out the array that will be used as the Idle task's stack. */
    *ppxIdleTaskStackBuffer = uxIdleTaskStack;

    /* Pass out the size of the array pointed to by *ppxIdleTaskStackBuffer.
    Note that, as the array is necessarily of type StackType_t,
    configMINIMAL_STACK_SIZE is specified in words, not bytes. */
    *puxIdleTaskStackSize = (uint32_t)(sizeof(uxIdleTaskStack)/sizeof(StackType_t)); //(configSTACK_DEPTH_TYPE)(configMINIMAL_STACK_SIZE * 2);
}
/*-----------------------------------------------------------*/

/* configSUPPORT_STATIC_ALLOCATION and configUSE_TIMERS are both set to 1, so the
application must provide an implementation of vApplicationGetTimerTaskMemory()
to provide the memory that is used by the Timer service task. */
void vApplicationGetTimerTaskMemory(StaticTask_t **ppxTimerTaskTCBBuffer,
                                    StackType_t **ppxTimerTaskStackBuffer,
                                    uint32_t *puxTimerTaskStackSize)
{
    /* If the buffers to be provided to the Timer task are declared inside this
    function then they must be declared static - otherwise they will be allocated on
    the stack and so not exists after this function exits. */
    static StaticTask_t xTimerTaskTCB;
    static StackType_t uxTimerTaskStack[configTIMER_TASK_STACK_DEPTH];

    /* Pass out a pointer to the StaticTask_t structure in which the Timer
    task's state will be stored. */
    *ppxTimerTaskTCBBuffer = &xTimerTaskTCB;

    /* Pass out the array that will be used as the Timer task's stack. */
    *ppxTimerTaskStackBuffer = uxTimerTaskStack;

    /* Pass out the size of the array pointed to by *ppxTimerTaskStackBuffer.
    Note that, as the array is necessarily of type StackType_t,
    configTIMER_TASK_STACK_DEPTH is specified in words, not bytes. */
    *puxTimerTaskStackSize = (uint32_t)(sizeof(uxTimerTaskStack)/sizeof(StackType_t));
}
